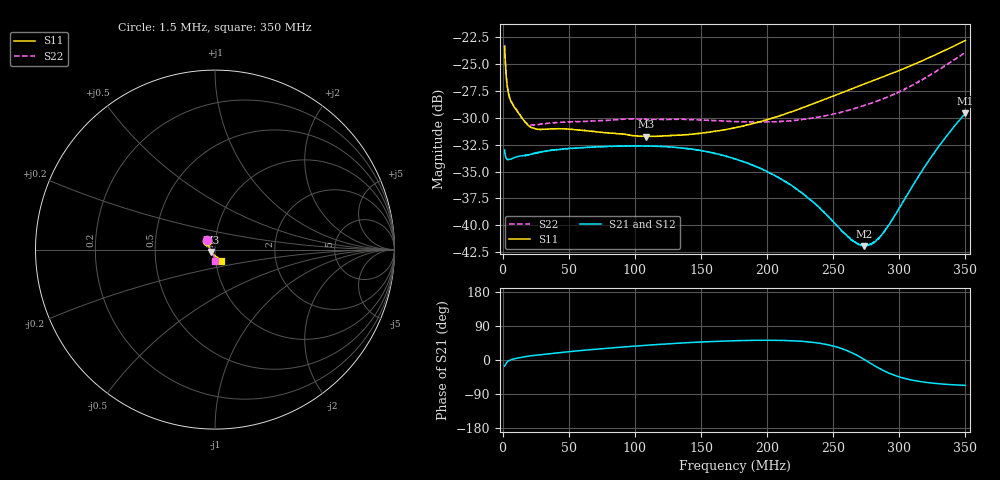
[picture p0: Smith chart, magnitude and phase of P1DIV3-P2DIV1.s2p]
# Hz S RI R 50
! RAW DATA - UNCALIBRATED
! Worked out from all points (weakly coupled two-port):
!   1601 points, 1.5 MHz to 350 MHz, reference 50 ohm
!   highest |S21| = -29.58 dB at 350 MHz (marker M1); lowest = -42.0 dB at 273.1 MHz (marker M2)
!   lowest |S11| = -31.7 dB at 108.7 MHz (marker M3), VSWR 1.05, Z = 47.8 - j1.2 ohm
!   |S11| at or under -10 dB: start of sweep to end of sweep
!   |S22| runs from -30.7 to -23.2 dB; largest |S21 - S12| = 0.0015
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1500000  -0.0463 0.0496  0.0215 -0.00617  0.0214 -0.00647  -0.0456 0.052
3895938  -0.0366 0.022  0.0202 -0.00133  0.0202 -0.00146  -0.0363 0.0236
5856250  -0.0348 0.0159  0.0203 -1.91e-05  0.0202 -0.00016  -0.0344 0.0173
8687812  -0.0334 0.0123  0.0206 0.00111  0.0204 0.00106  -0.033 0.0138
1.783594e7  -0.0291 0.00683  0.0209 0.00336  0.021 0.00343  -0.0287 0.00862
2.153875e7  -0.0282 0.00464  0.021 0.00415  0.021 0.00406  -0.0285 0.00681
2.676625e7  -0.0278 0.00251  0.0212 0.00501  0.0209 0.00482  -0.0289 0.0056
5.965594e7  -0.0273 -0.00426  0.0208 0.00973  0.0207 0.00987  -0.0302 0.00326
1.086638e8  -0.0226 -0.0125  0.0183 0.0146  0.0178 0.0148  -0.0309 -0.00279
1.178119e8  -0.0216 -0.0145  0.0176 0.0153  0.0172 0.0155  -0.0307 -0.00466
1.469988e8  -0.017 -0.0206  0.0153 0.0164  0.0149 0.0167  -0.0289 -0.0111
1.7575e8  -0.0111 -0.0261  0.0128 0.0158  0.0124 0.016  -0.0248 -0.0175
2.07115e8  -0.0035 -0.0318  0.0103 0.0133  0.01 0.0135  -0.0188 -0.0238
2.339059e8  0.00373 -0.0365  0.00883 0.00944  0.00852 0.00976  -0.0132 -0.0286
2.62875e8  0.0112 -0.0414  0.00803 0.0031  0.00793 0.00343  -0.00803 -0.0336
2.731122e8  0.0136 -0.0433  0.00797 0.000336  0.00799 0.000643  -0.00654 -0.0355
2.807356e8  0.0154 -0.0448  0.0081 -0.00202  0.00811 -0.00161  -0.00548 -0.037
2.861809e8  0.0166 -0.0458  0.00809 -0.00374  0.00825 -0.00336  -0.00472 -0.0381
2.920619e8  0.018 -0.047  0.00828 -0.00566  0.00847 -0.00537  -0.00403 -0.0396
3.236447e8  0.0251 -0.0553  0.0101 -0.0179  0.0109 -0.0174  -0.000843 -0.0503
3.373669e8  0.0281 -0.0603  0.0115 -0.0242  0.0125 -0.0236  0.000782 -0.0567
3.5e8  0.0308 -0.0657  0.013 -0.0305  0.0143 -0.03  0.00215 -0.064
